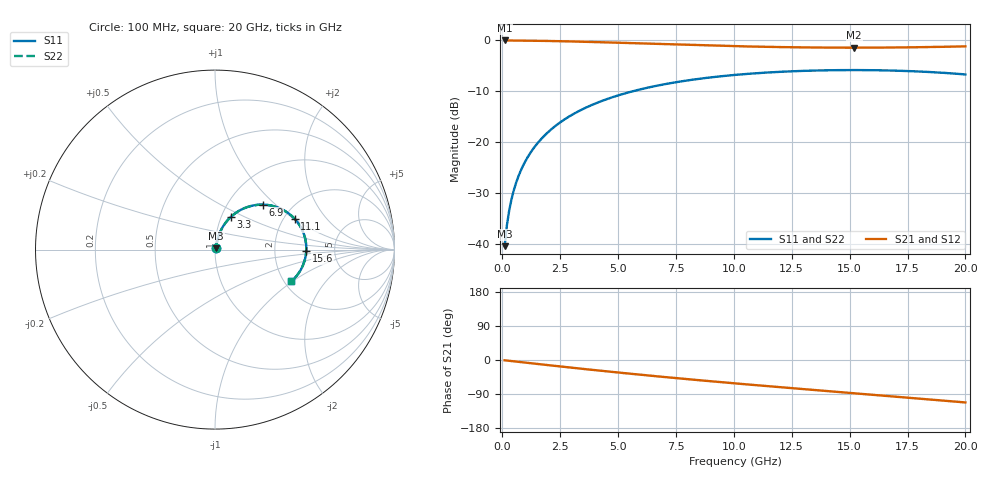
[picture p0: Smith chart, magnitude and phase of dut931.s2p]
! Touchstone file exported from HFSS 2026.1.0
!  File:  C:/ffzhzh/LocalFiles/Ansys_Project_Files/temp_train_TSV_RDL_931_1783280474_38704.aedt
!  Generated:  03:49:53 AM Jul  6, 2026
!  Design:  TSV_RDL
!  Project:  temp_train_TSV_RDL_931_1783280474_38704
! Variables:
!  h_bsmrdl = 3.71um
!  h_ox = 20um
!  h_rdl = 5um
!  h_sub = 52.25um
!  h_tmrdl = 5.29um
!  h_tsv = 52.25um
!  h_via = 3um
!  l_bsmrdl = 105.93um
!  l_sub = 2114.61um
!  l_tmrdl = 317.81um
!  m_sub = 200um
!  pitch = 59.2um
!  r_tsv = 12.77um
!  s_tmrdl = 10um
!  w_bsmrdl = 13.48um
!  w_sub = 500um
!  w_tmrdl = 28.38um
!  x_tsv_center1 = 332um
!  x_tsv_center2 = 451.41um
!  x_tsv_center3 = 797.6um
!  x_tsv_center4 = 917.01um
!  x_tsv_center5 = 1263.2um
!  x_tsv_center6 = 1382.61um
# GHz S MA R 50.000000
! Terminal data exported
! Port[1] = TM_RDL1_1_T1
! Port[2] = TM_RDL5_1_T1
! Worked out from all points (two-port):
!   200 points, 100 MHz to 20 GHz, reference 50 ohm
!   highest |S21| = -0.06 dB at 100 MHz (marker M1); lowest = -1.5 dB at 15.2 GHz (marker M2)
!   |S21| within 3 dB of the highest: start of sweep to end of sweep
!   lowest |S11| = -40.4 dB at 100 MHz (marker M3), VSWR 1.02, Z = 50.7 + j0.696 ohm
!   |S11| at or under -10 dB: start of sweep to 5.658 GHz
!   |S22| runs from -40.4 to -5.9 dB; largest |S21 - S12| = 9.6e-14
!   S11 on the Smith chart (normalised r, x): 100 MHz: 1.01, +0.01; 3.3 GHz: 1.11, +0.42; 6.9 GHz: 1.44, +0.83; 11.1 GHz: 2.29, +1.01; 15.6 GHz: 3.07, -0.06; 20 GHz: 2.18, -0.98
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0.1  0.009516 46.2  0.9935 -0.7  0.9935 -0.7  0.009516 46.2
! Gamma 0 0 0 0
! Port Impedance 50 0 50 0
0.2  0.0153 62.0  0.9931 -1.4  0.9931 -1.4  0.0153 62.0
0.3  0.02144 68.3  0.9926 -2.1  0.9926 -2.1  0.02144 68.3
0.4  0.02763 71.5  0.9922 -2.8  0.9922 -2.8  0.02763 71.5
0.5  0.03384 73.4  0.9918 -3.5  0.9918 -3.5  0.03384 73.4
0.7  0.04632 75.2  0.991 -4.9  0.991 -4.9  0.04632 75.2
1  0.06509 75.6  0.9895 -6.9  0.9895 -6.9  0.06509 75.6
1.4  0.08997 74.6  0.987 -9.6  0.987 -9.6  0.08997 74.6
1.9  0.1205 72.3  0.983 -13.0  0.983 -13.0  0.1205 72.3
2.5  0.156 69.0  0.977 -17.0  0.977 -17.0  0.156 69.0
3.3  0.2011 64.3  0.9675 -22.3  0.9675 -22.3  0.2011 64.3
3.5  0.2119 63.1  0.9649 -23.6  0.9649 -23.6  0.2119 63.1
5  0.2869 54.2  0.9437 -33.0  0.9437 -33.0  0.2869 54.2
6.8  0.3619 43.8  0.9164 -43.7  0.9164 -43.7  0.3619 43.8
6.9  0.3656 43.3  0.9149 -44.3  0.9149 -44.3  0.3656 43.3
10.1  0.4572 26.2  0.8726 -61.9  0.8726 -61.9  0.4572 26.2
11.1  0.4759 21.1  0.8626 -67.1  0.8626 -67.1  0.4759 21.1
13.4  0.5029 9.8  0.8476 -78.8  0.8476 -78.8  0.5028 9.8
15.2  0.5089 1.1  0.844 -87.7  0.844 -87.7  0.5089 1.1
15.6  0.5085 -0.9  0.8442 -89.7  0.8442 -89.7  0.5085 -0.9
16.7  0.5041 -6.2  0.8467 -95.1  0.8467 -95.1  0.5041 -6.2
20  0.4609 -22.6  0.8695 -112.0  0.8695 -112.0  0.4609 -22.6
